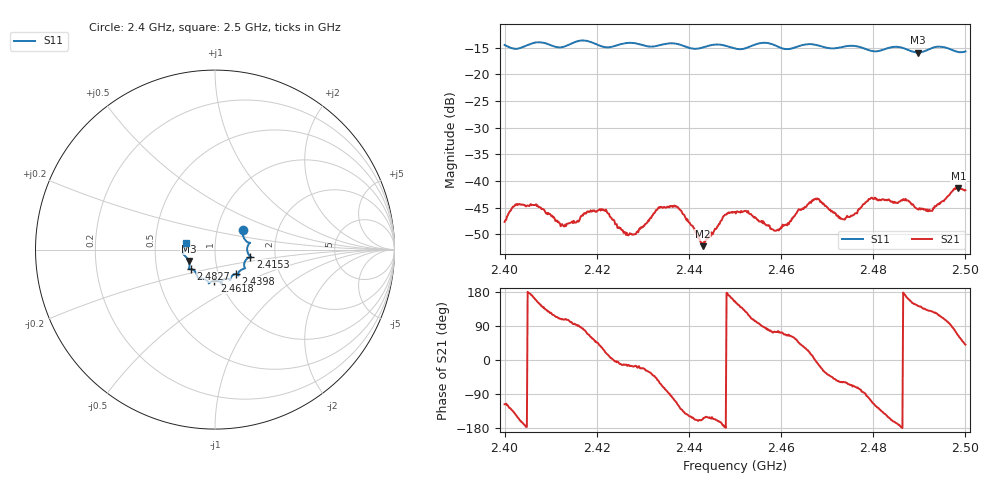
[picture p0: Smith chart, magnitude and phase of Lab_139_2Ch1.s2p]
# Hz S RI R 50
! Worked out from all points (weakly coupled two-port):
!   601 points, 2.4 GHz to 2.5 GHz, reference 50 ohm
!   highest |S21| = -41.28 dB at 2.4985 GHz (marker M1); lowest = -52.2 dB at 2.443 GHz (marker M2)
!   lowest |S11| = -15.9 dB at 2.4897 GHz (marker M3), VSWR 1.38, Z = 36.9 - j4.82 ohm
!   |S11| at or under -10 dB: start of sweep to end of sweep
!   S12 and S22 are empty: the file has one direction only
!   S11 on the Smith chart (normalised r, x): 2.4 GHz: 1.33, +0.29; 2.4153 GHz: 1.49, -0.12; 2.4398 GHz: 1.21, -0.34; 2.4618 GHz: 0.94, -0.33; 2.4827 GHz: 0.75, -0.17; 2.5 GHz: 0.72, +0.06
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2.4e9  0.1553 0.1066  -0.00187 -0.0037  0 0  0 0
2.403e9  0.1641 0.0589  -0.0054 -0.00271  0 0  0 0
2.415333e9  0.1973 -0.0395  -0.000237 0.00407  0 0  0 0
2.416667e9  0.2029 -0.0437  0.000414 0.00469  0 0  0 0
2.4215e9  0.1705 -0.0594  0.00474 0.00239  0 0  0 0
2.428e9  0.1663 -0.1043  0.003 -0.000943  0 0  0 0
2.433333e9  0.1296 -0.1336  0.00329 -0.00452  0 0  0 0
2.437167e9  0.1313 -0.1426  -0.00203 -0.00544  0 0  0 0
2.439833e9  0.1155 -0.1355  -0.00345 -0.00234  0 0  0 0
2.443e9  0.089 -0.1548  -0.00224 -0.000981  0 0  0 0
2.45e9  0.065 -0.1619  -0.00465 0.00217  0 0  0 0
2.4585e9  0.0346 -0.1852  0.000895 0.00331  0 0  0 0
2.461833e9  -0.00322 -0.1729  0.00182 0.00369  0 0  0 0
2.466667e9  -0.0349 -0.1883  0.00641 0.0014  0 0  0 0
2.473333e9  -0.0841 -0.1601  0.00226 -0.00377  0 0  0 0
2.479333e9  -0.1052 -0.1295  -0.00174 -0.00656  0 0  0 0
2.482667e9  -0.1351 -0.1084  -0.00534 -0.00396  0 0  0 0
2.483333e9  -0.14 -0.108  -0.0059 -0.00323  0 0  0 0
2.489667e9  -0.1467 -0.0635  -0.00433 0.00329  0 0  0 0
2.492333e9  -0.1708 -0.0314  -0.00336 0.00404  0 0  0 0
2.4985e9  -0.1612 0.0123  0.00376 0.00776  0 0  0 0
2.5e9  -0.1594 0.0384  0.00623 0.00533  0 0  0 0
